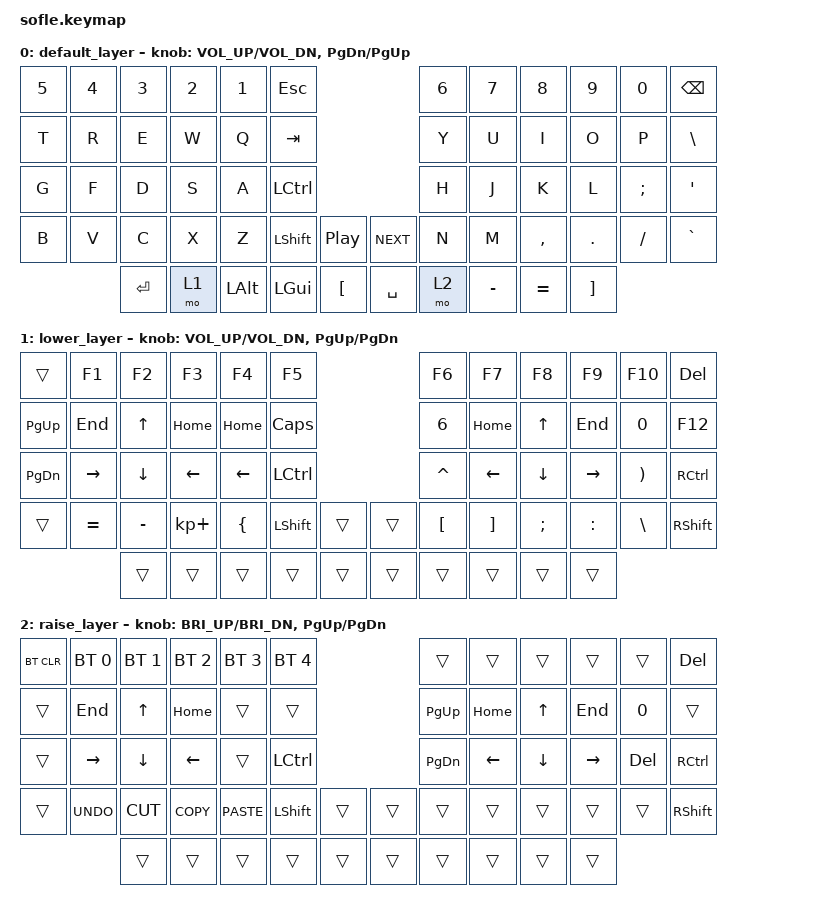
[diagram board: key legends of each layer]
/*
 * Copyright (c) 2020 The ZMK Contributors
 *
 * SPDX-License-Identifier: MIT
 */

#include <behaviors.dtsi>
#include <dt-bindings/zmk/keys.h>
#include <dt-bindings/zmk/bt.h>
#include <dt-bindings/zmk/ext_power.h>
#include <dt-bindings/zmk/rgb.h>

/ {
    keymap {
        compatible = "zmk,keymap";

        default_layer {
// ------------------------------------------------------------------------------------------------------------
// |  `    |  1  |  2  |  3   |  4   |  5   |                   |  6   |  7    |  8    |  9   |   0   | BKSPC |
// |  TAB  |  Q  |  W  |  E   |  R   |  T   |                   |  Y   |  U    |  I    |  O   |   P   |   \   |
// | C/ESC |  A  |  S  |  D   |  F   |  G   |                   |  H   |  J    |  K    |  L   |   ;   |  '  |
// | SHIFT |  Z  |  X  |  C   |  V   |  B   |  PLAY  |  | NEXT  |  N   |  M    |  ,    |  .   |   /   | SHIFT |
//               | CAPS| ALT  | GUI/-| SPACE|LOWER/[ |  |RAISE/]| ENTER|  GUI/=|  ALT  | CTRL |
            bindings = <
&kp N5    &kp N4   &kp N3    &kp N2    &kp N1     &kp ESC                             &kp N6  &kp N7      &kp N8      &kp N9    &kp N0     &kp BSPC
&kp T     &kp R    &kp E     &kp W     &kp Q      &kp TAB                             &kp Y   &kp U       &kp I       &kp O     &kp P      &kp BSLH
&kp G     &kp F    &kp D     &kp S     &kp A      &kp LCTRL                           &kp H   &kp J       &kp K       &kp L     &kp SEMI   &kp SQT
&kp B     &kp V    &kp C     &kp X     &kp Z      &kp LSHFT  &kp C_PP     &kp C_NEXT  &kp N   &kp M       &kp COMMA   &kp DOT   &kp FSLH   &kp GRAVE
                   &kp RET   &mo 1     &kp LALT   &kp LGUI   &kp LBKT   &kp SPACE   &mo 2   &kp MINUS   &kp EQUAL   &kp RBKT
            >;

            sensor-bindings = <&inc_dec_kp C_VOL_UP C_VOL_DN &inc_dec_kp PG_DN PG_UP>;
        };

        lower_layer {
// ------------------------------------------------------------------------------------------------------------
// |   TOG    |  F1 |  F2 |  F3  |  F4  |  F5  |                   |  F6  |  F7   |  F8   |  F9  |  F10  |  F11  |
// |       |   1 |   2 |   3  |   4  |   5  |                   |   6  |   7   |   8   |   9  |    0  |  F12  |
// |       |  !  |  @  |  #   |  $   |  %   |                   |  ^   |  &    |  *    |  (   |   )   |       |
// |       |  -  |  _  |  [   |  {   |  \   |        |  |       |  |   |  }    |  ]    |  =   |   +   |       |
//               |     |      |      |      |        |  |       |      |       |       |      |
            bindings = <
&trans    &kp F1    &kp F2    &kp F3      &kp F4    &kp F5                    &kp F6    &kp F7   &kp F8          &kp F9    &kp F10   &kp DELETE
&kp PG_UP &kp END   &kp UP   &kp HOME &kp HOME  &kp CAPS                    &kp N6    &kp HOME       &kp UP    &kp END    &kp N0    &kp F12
&kp PG_DN &kp RIGHT &kp DOWN &kp LEFT    &kp LEFT  &kp LCTRL                 &kp CARET &kp LEFT     &kp DOWN  &kp RIGHT  &kp RPAR  &kp RCTRL
&trans    &kp EQUAL &kp MINUS &kp KP_PLUS &kp LBRC  &kp LSHFT  &trans   &trans &kp LBKT  &kp RBKT &kp SEMI        &kp COLON &kp BSLH  &kp RSHFT
                    &trans    &trans      &trans    &trans    &trans   &trans &trans    &trans   &trans          &trans
            >;

            sensor-bindings = <&inc_dec_kp C_VOL_UP C_VOL_DN &inc_dec_kp PG_UP PG_DN>;
        };

        raise_layer {
// ------------------------------------------------------------------------------------------------------------
// |BTCLR| BT1  | BT2  |  BT3  |  BT4  |  BT5 |                |      |      |       |      |       |       |
// |     | INS  | PSCR | GUI   |       |      |                | PGUP |      |   ^   |      |       |       |
// |     | ALT  | CTRL | SHIFT |       | CAPS |                | PGDN |   <- |   v   |  ->  |  DEL  | BKSPC |
// |     | UNDO | CUT  | COPY  | PASTE |      |      |  |      |      |      |       |      |       |       |
//              |      |       |       |      |      |  |      |      |      |       |      |
            bindings = <
&bt BT_CLR &bt BT_SEL 0 &bt BT_SEL 1 &bt BT_SEL 2 &bt BT_SEL 3 &bt BT_SEL 4             &trans    &trans    &trans   &trans    &trans  &kp DELETE
&trans     &kp END      &kp UP       &kp HOME     &trans       &trans                   &kp PG_UP &kp HOME    &kp UP    &kp END    &kp N0  &trans
&trans     &kp RIGHT    &kp DOWN     &kp LEFT     &trans       &kp LCTRL                 &kp PG_DN &kp LEFT  &kp DOWN &kp RIGHT &kp DEL &kp RCTRL
&trans     &kp K_UNDO   &kp K_CUT    &kp K_COPY   &kp K_PASTE  &kp LSHFT  &trans   &trans  &trans    &trans    &trans   &trans    &trans  &kp RSHFT
                        &trans       &trans       &trans       &trans     &trans   &trans  &trans    &trans    &trans   &trans
            >;

            sensor-bindings = <&inc_dec_kp C_BRI_UP C_BRI_DN &inc_dec_kp PG_UP PG_DN>;
        };
    };
};
